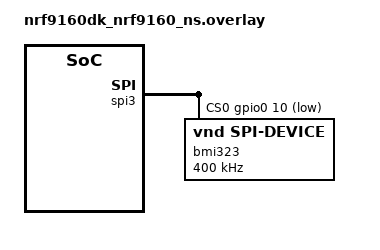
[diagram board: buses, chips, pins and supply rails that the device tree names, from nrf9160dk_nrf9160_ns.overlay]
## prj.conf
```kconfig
CONFIG_MAIN_STACK_SIZE=4096
CONFIG_GPIO=y
CONFIG_SPI=y
```

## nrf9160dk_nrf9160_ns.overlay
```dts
/*
 * Overlay file for TD Viking Watch hardware 
 */
 /* 
 &pinctrl {
	uart0_default: uart0_default {
		group1 {
			psels = <NRF_PSEL(UART_TX, 0, 6)>,
				<NRF_PSEL(UART_RTS, 0, 27)>;
		};
		group2 {
			psels = <NRF_PSEL(UART_RX, 0, 5)>,
				<NRF_PSEL(UART_CTS, 0, 26)>;
			bias-pull-up;
		};
	};

	uart0_sleep: uart0_sleep {
		group1 {
			psels = <NRF_PSEL(UART_TX, 0, 6)>,
				<NRF_PSEL(UART_RX, 0, 5)>,
				<NRF_PSEL(UART_RTS, 0, 27)>,
				<NRF_PSEL(UART_CTS, 0, 26)>;
			low-power-enable;
		};
	};

	uart1_default: uart1_default {
		group1 {
			psels = <NRF_PSEL(UART_TX, 0, 6)>,
				<NRF_PSEL(UART_RTS, 0, 14)>;
		};
		group2 {
			psels = <NRF_PSEL(UART_RX, 0, 5)>,
				<NRF_PSEL(UART_CTS, 0, 15)>;
			bias-pull-up;
		};
	};

	uart1_sleep: uart1_sleep {
		group1 {
			psels = <NRF_PSEL(UART_TX, 0, 6)>,
				<NRF_PSEL(UART_RX, 0, 5)>,
				<NRF_PSEL(UART_RTS, 0, 14)>,
				<NRF_PSEL(UART_CTS, 0, 15)>;
			low-power-enable;
		};
	};

	uart2_default: uart2_default {
		group1 {
			psels = <NRF_PSEL(UART_TX, 0, 6)>,
				<NRF_PSEL(UART_RX, 0, 5)>;
		};
	};

	uart2_sleep: uart2_sleep {
		group1 {
			psels = <NRF_PSEL(UART_TX, 0, 6)>,
				<NRF_PSEL(UART_RX, 0, 5)>;
			low-power-enable;
		};
	};

 };
*/
 &spi3 {
    status = "okay";
    cs-gpios = <&gpio0 10 GPIO_ACTIVE_LOW>;
    pinctrl-0 = <&spi3_default>;
    pinctrl-1 = <&spi3_sleep>;
    pinctrl-names = "default", "sleep";

    bmi323: bmi323@0 {
            compatible = "vnd,spi-device";
            reg = <0>;
            spi-max-frequency = <400000>;
            label = "bmi323";
    };
};
```

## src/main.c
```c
/*
* Copyright (c) 2012-2023 Viking TD Tordesign.net 
*/

#include <zephyr/kernel.h>
#include <zephyr/sys/printk.h>
#include <zephyr/drivers/spi.h>


static const struct spi_config spi_cfg = {
	.operation = SPI_OP_MODE_MASTER | SPI_WORD_SET(8) | SPI_LINES_SINGLE | SPI_TRANSFER_MSB,
}; 

const struct spi_dt_spec spi_spec = SPI_DT_SPEC_GET(DT_NODELABEL(bmi323), spi_cfg.operation, 0);


/*
int bmi323_com_status(void){
	// device communication test
	// 1. Read 16 bit register at address 0x00 - configures to SPI
	// 2. Read 16 bit register at address 0x00 - if value 0 com. test ok.
	static uint8_t rx_buffer[2]; // 2 byte buffer 16 bits of data
	static uint8_t tx_buffer[2]; // 2 byte buffer 16 bits of data
	// we want to send and receive 4 bytes.
	// actual data is sent during the first byte clocks and actual data transmitted during the last two byte clocks
	
	printk(rx_buffer);
}


int bmi323_init_status(void){
// initialize bme323 -> check that power ok and sensor status 
}

int bmi323_write(uint8_t register_to_write, int *tx_buffer){
	// input: 7 bit register to read, pointer to tx buffer.
}

*/


void bmi323_read_reg(int addr, int *rx_buffer)
{	// input: 7-bit register to read, pointer to rx buffer
	uint8_t reg = 128 + addr;
	int err;
	uint8_t tx_buffer[4] = {reg,0,0,0}; // buffer that holds address to read. Only first bytes valid	
	
	const struct spi_buf tx_buf = {
		.buf = tx_buffer,
                .len = 4
	};
	const struct spi_buf_set tx = {
		.buffers = &tx_buf,
		.count = 1
	};


	struct spi_buf rx_buf = {
		.buf = rx_buffer,
		.len = 4	
	};
	const struct spi_buf_set rx = {
		.buffers = &rx_buf,
		.count = 1
	};

	err = spi_transceive_dt(&spi_spec, &tx, &rx);
	if (err){
                printk("error happening here\n");
        }
}

void bmi323_read_burst(int start_addr, int nbr_words, int *rx_buffer)
{	// start_addr: the start address to burst read
	// nbr_word: the number of words to read 
	int err;
	int nbr_bytes = (nbr_words * 2) + 2; // 2 bytes per word 

	uint8_t tx_buffer[nbr_bytes]; // buffer that holds address to read. Only first bytes valid	
	tx_buffer[0] = 128 + start_addr; // the MSB in the 8-bit address field need to be high to "read". 

	const struct spi_buf tx_buf = {
		.buf = tx_buffer,
                .len = nbr_bytes
	};
	const struct spi_buf_set tx = {
		.buffers = &tx_buf,
		.count = 1
	};


	struct spi_buf rx_buf = {
		.buf = rx_buffer,
		.len = nbr_bytes	
	};
	const struct spi_buf_set rx = {
		.buffers = &rx_buf,
		.count = 1
	};

	err = spi_transceive_dt(&spi_spec, &tx, &rx);
	if (err){
                printk("error happening here\n");
        }
}

void bmi323_write_reg(int addr, int *tx_buffer)
{	// input: 7-bit register to read, pointer to rx buffer
	int err;

	uint8_t rx_buffer[3] = {0,0,0}; // buffer for rx - discarded not used for write	
	
	const struct spi_buf tx_buf = {
		.buf = tx_buffer,
                .len = 3
	};
	const struct spi_buf_set tx = {
		.buffers = &tx_buf,
		.count = 1
	};


	struct spi_buf rx_buf = {
		.buf = rx_buffer,
		.len = 3	
	};
	const struct spi_buf_set rx = {
		.buffers = &rx_buf,
		.count = 1
	};

	err = spi_transceive_dt(&spi_spec, &tx, &rx);
	if (err){
                printk("error happening here\n");
        }
}


uint8_t rx_buffer[4] = {0,0,0,0}; // buffer that hold received data. Only two last bytes valid
uint8_t tx_buffer[3] = {0,0,0}; // buffer that hold transmit address and data to send

void main(void)
{	k_sleep(K_MSEC(2000));
	//printk("SPIM Example\n");
	bmi323_read_reg(0x00, &rx_buffer); // Read Chip ID:
	
	//printk("%x ",   rx_buffer[2]); // Data 7:0
	//printk("%x\n",  rx_buffer[3]); // Data 15:8

	bmi323_read_reg(0x01, &rx_buffer); // Check Power status, 0b0 = ok
	//printk("%x ",   rx_buffer[2]); // Data 7:0
	//printk("%x\n",  rx_buffer[3]); // Data 15:8
	
	bmi323_read_reg(0x02, &rx_buffer); // sensor status 0b1 = ok, cleared after first read
	//printk("%d ",   rx_buffer[2]); // Data 7:0
	//printk("%d\n",  rx_buffer[3]); // Data 15:8
	//printk("After init\n");

	
	uint8_t tx_buffer[3] = {0x20,0x27,0x31}; // set accelerometer 
	bmi323_write_reg(0x03, &tx_buffer);
	uint16_t acc_x;
	uint16_t acc_y;
	uint16_t acc_z;
	uint8_t rx_buffer[6+2]; // buffer that hold received data. Only two last bytes valid
	while (1) {
		bmi323_read_burst(0x03, 3,  &rx_buffer);
		k_sleep(K_MSEC(10));
		acc_x = (((rx_buffer[3]) << 8) | (rx_buffer[2])); // left shift MSByte and OR with LSB to form 16-bit value
		acc_y = (((rx_buffer[5]) << 8) | (rx_buffer[4])); // left shift MSByte and OR with LSB to form 16-bit value
		acc_z = (((rx_buffer[7]) << 8) | (rx_buffer[6])); // left shift MSByte and OR with LSB to form 16-bit value
		printk("Acc_x:%d,",acc_x);
		printk("Acc_y:%d,",acc_y);
		printk("Acc_z:%d,",acc_z - 60000);
		printk("\n");

		k_sleep(K_MSEC(10));
	}
}
```
